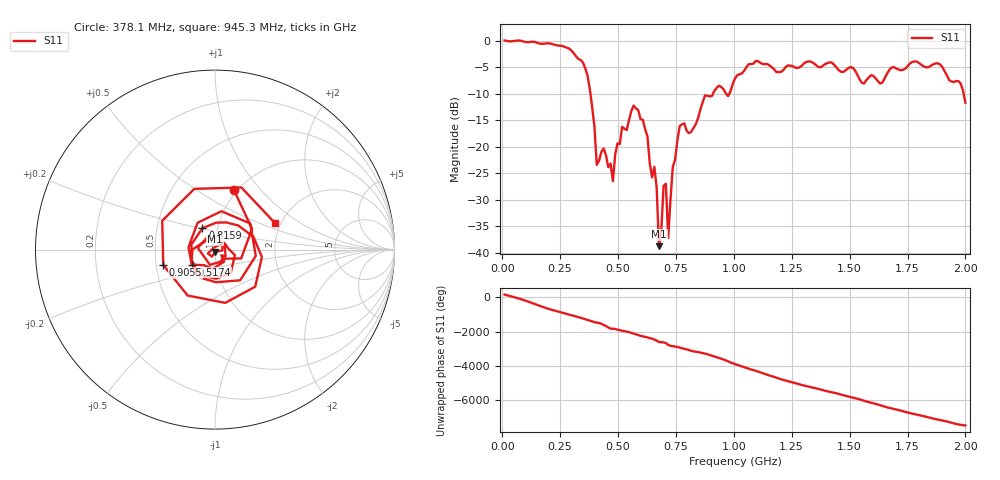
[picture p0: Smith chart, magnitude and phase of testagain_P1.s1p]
!Created with skrf (http://scikit-rf.org).
# Hz S RI R 50.0
!freq ReS11 ImS11
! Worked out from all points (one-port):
!   201 points, 10 MHz to 2 GHz, reference 50 ohm
!   lowest |S11| = -38.7 dB at 676.6 MHz (marker M1), VSWR 1.02, Z = 50 - j1.16 ohm
!   |S11| at or under -10 dB: 380.6 MHz to 910.1 MHz (529.5 MHz wide, 82 % of centre); 966.4 MHz to 980.6 MHz (14.2 MHz wide, 1.46 % of centre); 1.992354 GHz to end of sweep
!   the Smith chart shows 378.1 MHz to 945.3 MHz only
!   S11 on the Smith chart (normalised r, x): 378.1 MHz: 0.97, +0.73; 517.5 MHz: 0.76, -0.13; 816 MHz: 0.85, +0.21; 905.5 MHz: 0.55, -0.10; 945.3 MHz: 1.87, +0.63
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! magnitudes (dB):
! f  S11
! 10 MHz  0.0
! 258.8 MHz  -1.0
! 378.1 MHz  -9.2
! 408 MHz  -23.4
! 437.9 MHz  -20.3
! 477.6 MHz  -26.5
! 507.5 MHz  -19.5
! 517.5 MHz  -16.2
! 567.2 MHz  -12.2
! 607 MHz  -14.9
! 646.8 MHz  -25.8
! 656.8 MHz  -23.8
! 666.7 MHz  -27.7
! 676.6 MHz  -38.7
! 696.5 MHz  -27.4
! 706.5 MHz  -27.0
! 716.5 MHz  -37.1
! 736.4 MHz  -23.8
! 756.2 MHz  -18.8
! 816 MHz  -17.2
! 905.5 MHz  -10.4
! 945.3 MHz  -8.7
! 1.005 GHz  -7.1
! 1.254 GHz  -4.8
! 1.502 GHz  -5.0
! 1.751 GHz  -4.8
! 1.891 GHz  -4.5
! 2 GHz  -11.7
